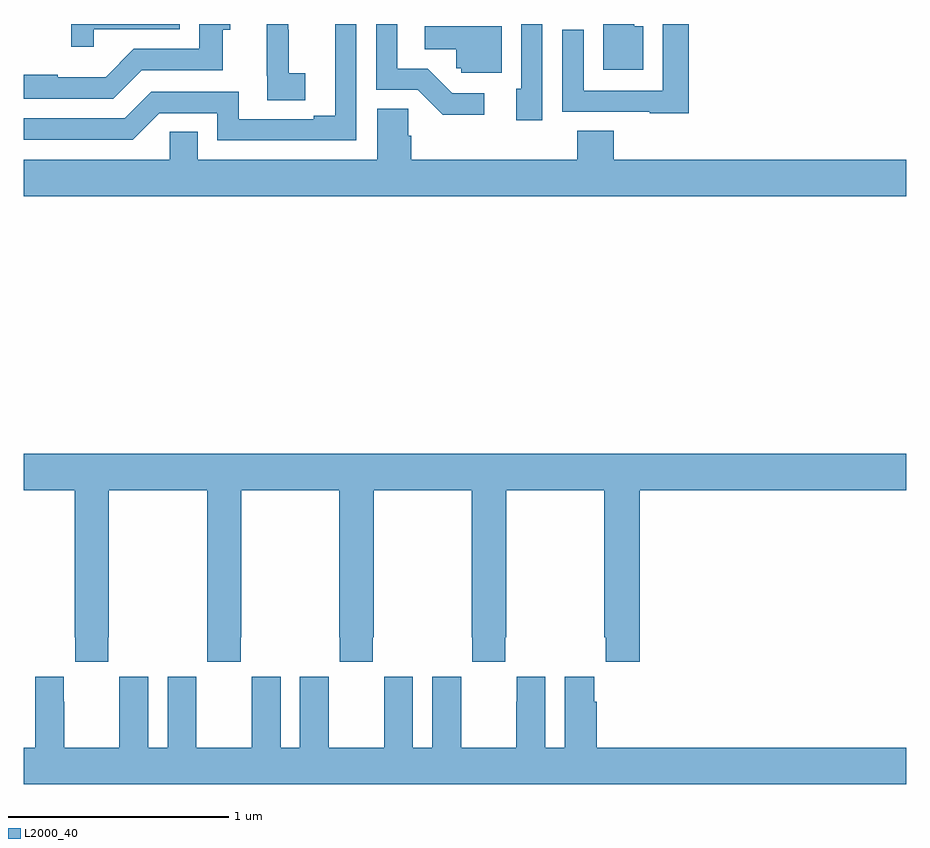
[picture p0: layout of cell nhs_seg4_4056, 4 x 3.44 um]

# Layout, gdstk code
import gdstk
lib = gdstk.Library(unit=1e-6, precision=1e-09)
def P(c, l, *ps):  # polygons
    for p in ps: c.add(gdstk.Polygon(p, *l))
L2000_40 = (2000, 40)

nhs_seg4_4056 = lib.new_cell('nhs_seg4_4056')
P(nhs_seg4_4056, L2000_40, [(327.808,830.89),(327.766,830.89),(327.766,830.9),(327.626,830.9),(327.626,830.693),(327.808,830.693)],
  [(327.088,830.586),(326.943,830.586),(326.832,830.697),(326.694,830.697),(326.694,830.9),(326.598,830.9),(326.598,830.601),(326.787,830.601),(326.9,830.489),(327.088,830.489)],
  [(326.508,830.9),(326.411,830.9),(326.411,830.484),(326.315,830.484),(326.315,830.469),(325.974,830.469),(325.974,830.592),(325.578,830.592),(325.458,830.472),(325,830.472),(325,830.376),(325.494,830.376),(325.614,830.496),(325.878,830.496),(325.878,830.373),(326.508,830.373)],
  [(327.351,830.9),(327.255,830.9),(327.255,830.607),(327.233,830.607),(327.233,830.463),(327.351,830.463)],
  [(325.317,830.877),(325.707,830.877),(325.707,830.9),(325.216,830.9),(325.216,830.796),(325.317,830.796)],
  [(326.275,830.676),(326.201,830.676),(326.201,830.873),(326.199,830.873),(326.199,830.9),(326.102,830.9),(326.102,830.665),(326.104,830.665),(326.104,830.554),(326.275,830.554)],
  [(328.013,830.9),(327.897,830.9),(327.897,830.598),(327.537,830.598),(327.537,830.875),(327.441,830.875),(327.441,830.502),(327.837,830.502),(327.837,830.495),(328.013,830.495)],
  [(325.536,830.691),(325.903,830.691),(325.903,830.875),(325.936,830.875),(325.936,830.9),(325.796,830.9),(325.796,830.787),(325.5,830.787),(325.372,830.659),(325.154,830.659),(325.154,830.671),(325,830.671),(325,830.562),(325.407,830.562)],
  [(327.166,830.89),(326.817,830.89),(326.817,830.786),(326.961,830.786),(326.961,830.7),(326.982,830.7),(326.982,830.679),(327.166,830.679)],
  [(329,830.284),(327.674,830.284),(327.674,830.417),(327.509,830.417),(327.509,830.284),(326.756,830.284),(326.756,830.393),(326.742,830.393),(326.742,830.516),(326.603,830.516),(326.603,830.284),(325.789,830.284),(325.789,830.411),(325.662,830.411),(325.662,830.284),(325,830.284),(325,830.12),(329,830.12)],
  [(325.383,828.121),(325.386,828.121),(325.386,828.788),(325.831,828.788),(325.831,828.121),(325.833,828.121),(325.833,828.009),(325.983,828.009),(325.983,828.121),(325.986,828.121),(325.986,828.788),(326.431,828.788),(326.431,828.121),(326.433,828.121),(326.433,828.009),(326.583,828.009),(326.583,828.121),(326.586,828.121),(326.586,828.788),(327.031,828.788),(327.031,828.121),(327.033,828.121),(327.033,828.009),(327.183,828.009),(327.183,828.121),(327.186,828.121),(327.186,828.788),(327.631,828.788),(327.631,828.121),(327.637,828.121),(327.637,828.009),(327.791,828.009),(327.791,828.788),(329,828.788),(329,828.952),(325,828.952),(325,828.788),(325.231,828.788),(325.231,828.121),(325.233,828.121),(325.233,828.009),(325.383,828.009)],
  [(329,827.62),(327.596,827.62),(327.596,827.828),(327.586,827.828),(327.586,827.941),(327.452,827.941),(327.452,827.62),(327.364,827.62),(327.364,827.941),(327.234,827.941),(327.234,827.828),(327.233,827.828),(327.233,827.62),(326.983,827.62),(326.983,827.828),(326.982,827.828),(326.982,827.941),(326.852,827.941),(326.852,827.62),(326.764,827.62),(326.764,827.941),(326.634,827.941),(326.634,827.828),(326.633,827.828),(326.633,827.62),(326.383,827.62),(326.383,827.828),(326.382,827.828),(326.382,827.941),(326.252,827.941),(326.252,827.62),(326.164,827.62),(326.164,827.941),(326.034,827.941),(326.034,827.828),(326.033,827.828),(326.033,827.62),(325.783,827.62),(325.783,827.828),(325.782,827.828),(325.782,827.941),(325.652,827.941),(325.652,827.62),(325.564,827.62),(325.564,827.941),(325.434,827.941),(325.434,827.828),(325.433,827.828),(325.433,827.62),(325.183,827.62),(325.183,827.828),(325.182,827.828),(325.182,827.941),(325.052,827.941),(325.052,827.62),(325,827.62),(325,827.456),(329,827.456)])

lib.write_gds('nhs_seg4_4056.gds')
